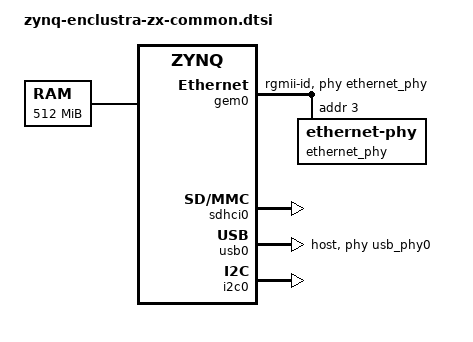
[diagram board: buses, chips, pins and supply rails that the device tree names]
/ {
	memory {
		device_type = "memory";
		reg = <0x0 0x20000000>;
	};

	chosen {
		linux,stdout-path = "/amba/serial@e0000000";
	};

	usb_phy0: phy0 {
		compatible = "ulpi-phy";
		#phy-cells = <0>;
		reg = <0xe0002000 0x1000>;
		view-port = <0x0170>;
		drv-vbus;
	};
};

&gem0 {
	status = "okay";
	phy-mode = "rgmii-id";
	phy-handle = <&ethernet_phy>;

	ethernet_phy: ethernet-phy@3 {
		reg = <3>;
	};
};

&sdhci0 {
	status = "okay";
	broken-cd = <0x1>;
	wp-inverted = <0x1>;
};

&usb0 {
	status = "okay";
	dr_mode = "host";
	usb-phy = <&usb_phy0>;
};

&i2c0 {
	status = "okay";
	/* Both RTCs disabled by default, choose one */
	pcf85063: pcf85063@51 {
		status = "disabled";
		compatible = "nxp,pcf85063";
		reg = <0x51>;
	};
	isl12022: isl12022@68 {
		status = "disabled";
		compatible = "isil,isl12022";
		reg = <0x6f>;
	};
};
